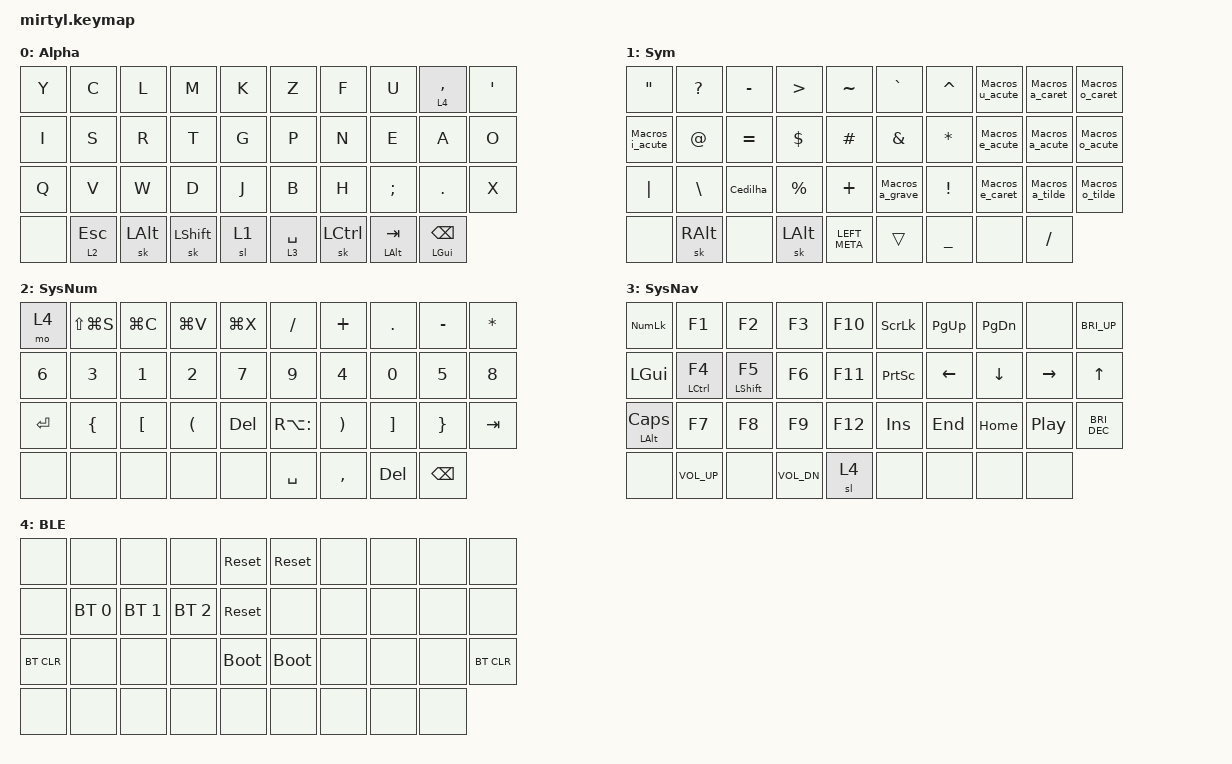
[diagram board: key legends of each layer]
/*
 * Copyright (c) 2020 The ZMK Contributors
 *
 * SPDX-License-Identifier: MIT
 */

#include <behaviors.dtsi>
#include <dt-bindings/zmk/bt.h>
#include <dt-bindings/zmk/keys.h>

&mt {
    flavor = "tap-preferred";
    quick-tap-ms = <200>;
    retro-tap;
};

&sk {
    quick-release;
    release-after-ms = <300>;
};

&lt {
    quick-tap-ms = <200>;
    tapping-term-ms = <200>;
    flavor = "tap-preferred";
    retro-tap;
};

&sl { release-after-ms = <300>; };

/ {
    behaviors {
        gqt: global-quick-tap {
            compatible = "zmk,behavior-hold-tap";
            label = "GLOBAL_QUICK_TAP";
            #binding-cells = <2>;
            flavor = "tap-preferred";
            tapping-term-ms = <140>;
            quick-tap-ms = <200>;
            global-quick-tap;
            bindings = <&kp>, <&kp>;
        };

        qlt: qlt {
            compatible = "zmk,behavior-hold-tap";
            label = "QLT";
            bindings = <&mo>, <&kp>;

            #binding-cells = <2>;
            tapping-term-ms = <100>;
            retro-tap;
            flavor = "balanced";
        };
    };

    combos {
        compatible = "zmk,combos";

        enter {
            bindings = <&kp ENTER>;
            key-positions = <7 8>;
        };

        Tab {
            bindings = <&kp TAB>;
            key-positions = <28 27>;
        };

        EQ {
            bindings = <&kp EQUAL>;
            key-positions = <26 27>;
        };

        UL {
            bindings = <&kp UNDERSCORE>;
            key-positions = <26 28>;
        };
    };

    macros {
        ZMK_MACRO(

        Macros_a_acute,

        wait-ms = <0>;
        tap-ms = <0>;
        bindings =
            <&macro_press>,
            <&kp RALT>,
            <&macro_tap>,
            <&kp A>,
            <&macro_release>,
            <&kp RALT>;

        )
        ZMK_MACRO(

        Macros_e_acute,
        wait-ms = <0>;
        tap-ms = <0>;
        bindings =
            <&macro_press>,
            <&kp RALT>,
            <&macro_tap>,
            <&kp E>,
            <&macro_release>,
            <&kp RALT>;

        )
        ZMK_MACRO(

        Macros_i_acute,
        wait-ms = <0>;
        tap-ms = <0>;
        bindings =
            <&macro_press>,
            <&kp RALT>,
            <&macro_tap>,
            <&kp I>,
            <&macro_release>,
            <&kp RALT>;

        )
        ZMK_MACRO(

        Macros_o_acute,
        wait-ms = <0>;
        tap-ms = <0>;
        bindings =
            <&macro_press>,
            <&kp RALT>,
            <&macro_tap>,
            <&kp O>,
            <&macro_release>,
            <&kp RALT>;

        )
        ZMK_MACRO(

        Macros_u_acute,
        wait-ms = <0>;
        tap-ms = <0>;
        bindings =
            <&macro_press>,
            <&kp RALT>,
            <&macro_tap>,
            <&kp U>,
            <&macro_release>,
            <&kp RALT>;

        )
        ZMK_MACRO(

        Macros_a_grave,
        wait-ms = <0>;
        tap-ms = <0>;
        bindings =
            <&macro_press>,
            <&kp RALT>,
            <&macro_tap>,
            <&kp GRAVE>,
            <&macro_release>,
            <&kp RALT>,
            <&macro_tap>,
            <&kp A>;

        )
        ZMK_MACRO(

        Macros_a_caret,
        wait-ms = <0>;
        tap-ms = <0>;
        bindings =
            <&macro_press>,
            <&kp RALT>,
            <&macro_tap>,
            <&kp NUMBER_6>,
            <&macro_release>,
            <&kp RALT>,
            <&macro_tap>,
            <&kp A>;

        )
        ZMK_MACRO(

        Macros_e_caret,
        wait-ms = <0>;
        tap-ms = <0>;
        bindings =
            <&macro_press>,
            <&kp RALT>,
            <&macro_tap>,
            <&kp NUMBER_6>,
            <&macro_release>,
            <&kp RALT>,
            <&macro_tap>,
            <&kp E>;

        )
        ZMK_MACRO(

        Macros_o_caret,
        wait-ms = <0>;
        tap-ms = <0>;
        bindings =
            <&macro_press>,
            <&kp RALT>,
            <&macro_tap>,
            <&kp NUMBER_6>,
            <&macro_release>,
            <&kp RALT>,
            <&macro_tap>,
            <&kp O>;

        )
        ZMK_MACRO(

        Macros_a_tilde,
        wait-ms = <0>;
        tap-ms = <0>;
        bindings =
            <&macro_press>,
            <&kp RALT>,
            <&macro_tap>,
            <&kp TILDE>,
            <&macro_release>,
            <&kp RALT>,
            <&macro_tap>,
            <&kp A>;

        )
        ZMK_MACRO(

        Macros_o_tilde,
        wait-ms = <0>;
        tap-ms = <0>;
        bindings =
            <&macro_press>,
            <&kp RALT>,
            <&macro_tap>,
            <&kp TILDE>,
            <&macro_release>,
            <&kp RALT>,
            <&macro_tap>,
            <&kp O>;

        )
        ZMK_MACRO(

        Cedilha,
        wait-ms = <0>;
        tap-ms = <0>;
        bindings =
            <&macro_press>,
            <&kp RALT>,
            <&macro_tap>,
            <&kp COMMA>,
            <&macro_release>,
            <&kp RALT>;

        )
    };

    keymap {
        compatible = "zmk,keymap";

        Alpha {
            // -----------------------------------------------------------------------------------------
            // |  Q  |  W  |  E  |  R  |  T  |   |  Y  |  U   |  I  |  O  |  P  |
            // |  A  |  S  |  D  |  F  |  G  |   |  H  |  J   |  K  |  L  |  ;  |
            // |  Z  |  X  |  C  |  V  |  B  |   |  N  |  M   |  ,  |  .  |  /  |
            //       | SHF | GUI | LWR | SPC |   | ENT | RSE  | ALT | ENT |

            bindings = <
&kp Y  &kp C       &kp L         &kp M           &kp K               &kp Z      &kp F             &kp U               &lt 4 COMMA  &kp APOSTROPHE
&kp I  &kp S       &kp R         &kp T           &kp G               &kp P      &kp N             &kp E               &kp A        &kp O
&kp Q  &kp V       &kp W         &kp D           &kp J               &kp B      &kp H             &kp SEMICOLON       &kp DOT      &kp X
&none  &qlt 2 ESC  &sk LEFT_ALT  &sk LEFT_SHIFT  &sl 1  &lt 3 SPACE  &sk LCTRL  &mt LEFT_ALT TAB  &mt LGUI BACKSPACE
            >;
        };

        Sym {
            bindings = <
&kp DOUBLE_QUOTES  &kp QUESTION   &kp MINUS  &kp GREATER_THAN  &kp TILDE              &kp GRAVE        &kp CARET        &Macros_u_acute  &Macros_a_caret  &Macros_o_caret
&Macros_i_acute    &kp AT         &kp EQUAL  &kp DOLLAR        &kp HASH               &kp AMPS         &kp STAR         &Macros_e_acute  &Macros_a_acute  &Macros_o_acute
&kp PIPE           &kp BACKSLASH  &Cedilha   &kp PERCENT       &kp PLUS               &Macros_a_grave  &kp EXCLAMATION  &Macros_e_caret  &Macros_a_tilde  &Macros_o_tilde
&none              &sk RIGHT_ALT  &none      &sk LEFT_ALT      &kp LEFT_META  &trans  &kp UNDER        &none            &kp SLASH
            >;
        };

        SysNum {
            // -----------------------------------------------------------------------------------------
            // |  TAB |  !  |  @  |  #  |  $  |  %  |   |  ^  |  &  |  *  |  (  |  )  | BKSP |
            // | CTRL |     |     |     |     |     |   |  -  |  =  |  [  |  ]  |  \  |  `   |
            // | SHFT |     |     |     |     |     |   |  _  |  +  |  {  |  }  | "|" |  ~   |
            //                    | GUI |     | SPC |   | ENT |     | ALT |

            bindings = <
&mo 4         &kp LS(LG(S))   &kp LG(C)         &kp LG(V)             &kp LG(X)                &kp SLASH      &kp PLUS               &kp DOT            &kp MINUS        &kp STAR
&kp NUMBER_6  &kp N3          &kp N1            &kp N2                &kp NUMBER_7             &kp NUMBER_9   &kp N4                 &kp N0             &kp N5           &kp N8
&kp ENTER     &kp LEFT_BRACE  &kp LEFT_BRACKET  &kp LEFT_PARENTHESIS  &kp DELETE               &kp RA(COLON)  &kp RIGHT_PARENTHESIS  &kp RIGHT_BRACKET  &kp RIGHT_BRACE  &kp TAB
&none         &none           &none             &none                 &none         &kp SPACE  &kp COMMA      &kp DELETE             &kp BACKSPACE
            >;
        };

        SysNav {
            bindings = <
&kp KP_NUM         &kp F1               &kp F2             &kp F3        &kp F10         &kp SCROLLLOCK   &kp PAGE_UP  &kp PAGE_DOWN  &none      &kp C_BRI_UP
&kp LEFT_GUI       &mt LEFT_CONTROL F4  &mt LEFT_SHIFT F5  &kp F6        &kp F11         &kp PRINTSCREEN  &kp LEFT     &kp DOWN       &kp RIGHT  &kp UP
&mt LEFT_ALT CAPS  &kp F7               &kp F8             &kp F9        &kp F12         &kp INS          &kp END      &kp HOME       &kp C_PP   &kp C_BRI_DEC
&none              &kp C_VOL_UP         &none              &kp C_VOL_DN  &sl 4    &none  &none            &none        &none
            >;
        };

        BLE {
            bindings = <
&none       &none         &none         &none         &sys_reset          &sys_reset   &none  &none  &none  &none
&none       &bt BT_SEL 0  &bt BT_SEL 1  &bt BT_SEL 2  &sys_reset          &none        &none  &none  &none  &none
&bt BT_CLR  &none         &none         &none         &bootloader         &bootloader  &none  &none  &none  &bt BT_CLR
&none       &none         &none         &none         &none        &none  &none        &none  &none
            >;
        };
    };
};
